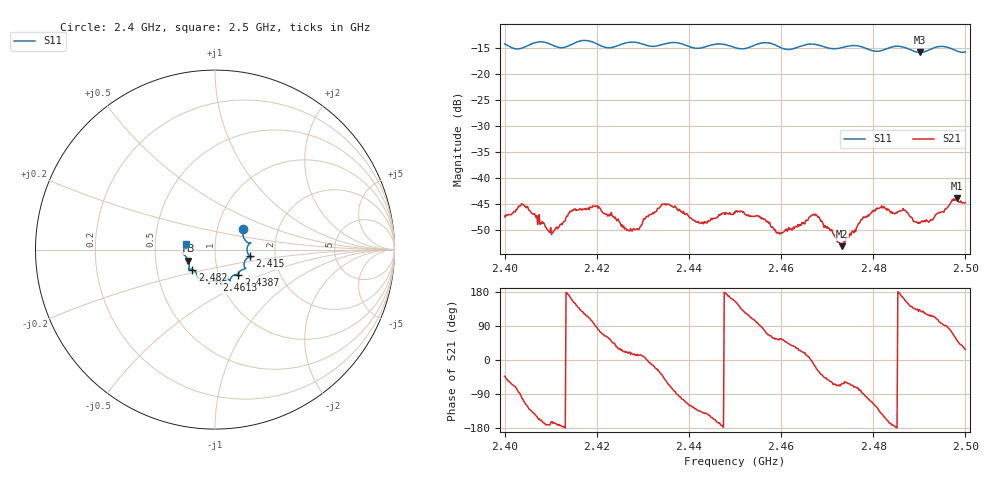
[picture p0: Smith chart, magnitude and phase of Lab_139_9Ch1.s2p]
# Hz S RI R 50
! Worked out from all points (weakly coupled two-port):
!   601 points, 2.4 GHz to 2.5 GHz, reference 50 ohm
!   highest |S21| = -43.87 dB at 2.4982 GHz (marker M1); lowest = -53.0 dB at 2.4732 GHz (marker M2)
!   lowest |S11| = -15.9 dB at 2.4902 GHz (marker M3), VSWR 1.38, Z = 36.9 - j4.66 ohm
!   |S11| at or under -10 dB: start of sweep to end of sweep
!   S12 and S22 are empty: the file has one direction only
!   S11 on the Smith chart (normalised r, x): 2.4 GHz: 1.33, +0.31; 2.415 GHz: 1.47, -0.11; 2.4387 GHz: 1.24, -0.36; 2.4613 GHz: 0.96, -0.34; 2.482 GHz: 0.76, -0.17; 2.5 GHz: 0.72, +0.05
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2.4e9  0.1581 0.1121  0.00312 -0.0029  0 0  0 0
2.404e9  0.1716 0.0479  -0.00137 -0.00544  0 0  0 0
2.410167e9  0.1884 0.0295  -0.00276 -0.000828  0 0  0 0
2.415e9  0.1922 -0.0362  -0.00447 0.00234  0 0  0 0
2.416667e9  0.2033 -0.044  -0.00313 0.00385  0 0  0 0
2.420167e9  0.1879 -0.043  0.000708 0.0054  0 0  0 0
2.427167e9  0.1712 -0.105  0.00295 0.00113  0 0  0 0
2.433333e9  0.1322 -0.1314  0.00464 -0.00223  0 0  0 0
2.438667e9  0.1306 -0.1414  -0.0011 -0.00449  0 0  0 0
2.442667e9  0.0935 -0.1508  -0.0027 -0.00255  0 0  0 0
2.45e9  0.0688 -0.1649  -0.0042 0.00197  0 0  0 0
2.455167e9  0.0347 -0.1916  -0.000229 0.00427  0 0  0 0
2.459333e9  0.0309 -0.1811  0.00172 0.00243  0 0  0 0
2.461333e9  0.00774 -0.1713  0.00216 0.00222  0 0  0 0
2.466667e9  -0.0349 -0.19  0.00442 -0.000177  0 0  0 0
2.473167e9  -0.0795 -0.1598  0.00101 -0.00199  0 0  0 0
2.477833e9  -0.0977 -0.1509  8.28e-05 -0.00426  0 0  0 0
2.482e9  -0.1259 -0.1116  -0.00419 -0.00307  0 0  0 0
2.483333e9  -0.1394 -0.1086  -0.00483 -0.00137  0 0  0 0
2.490167e9  -0.148 -0.0616  -0.00247 0.00279  0 0  0 0
2.498167e9  -0.1656 0.0016  0.00395 0.00504  0 0  0 0
2.5e9  -0.1589 0.0325  0.00517 0.00268  0 0  0 0
